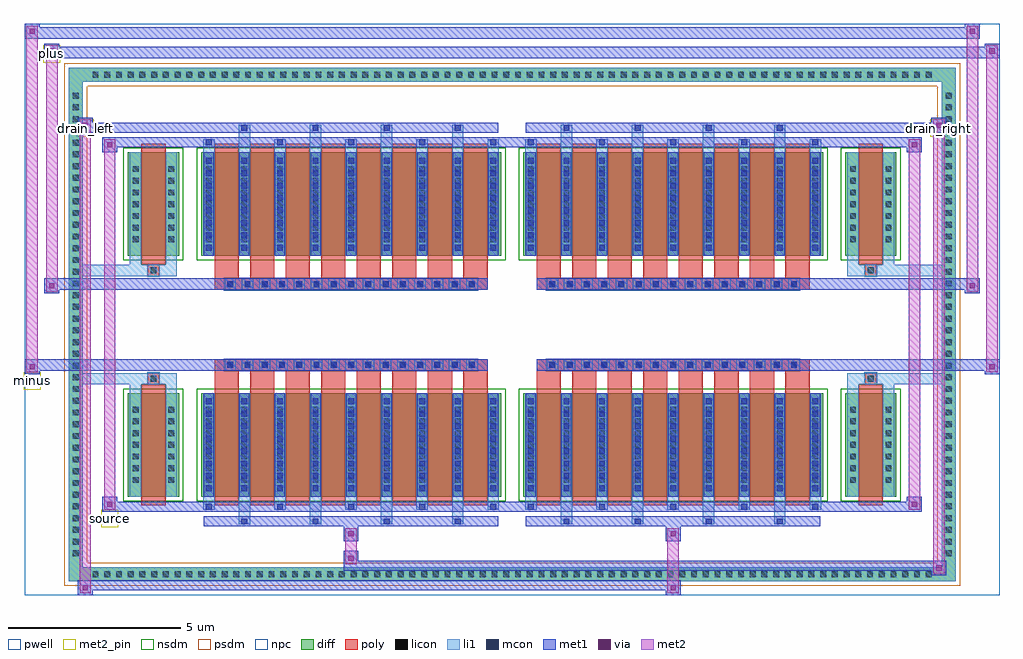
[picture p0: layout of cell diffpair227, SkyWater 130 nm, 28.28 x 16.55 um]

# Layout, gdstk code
import gdstk
lib = gdstk.Library(unit=1e-6, precision=5e-09)
def R(c, l, rs):  # rectangles x0, y0, x1, y1
    for r in rs: c.add(gdstk.rectangle(r[:2], r[2:], *l))
def A(c, l, x, y, w, h, nx, ny, dx, dy):  # array of equal rectangles
    R(c, l, [(x+i*dx, y+j*dy, x+i*dx+w, y+j*dy+h) for i in range(nx) for j in range(ny)])
def P(c, l, *ps):  # polygons
    for p in ps: c.add(gdstk.Polygon(p, *l))
pwell = (64, 44)
diff = (65, 20)
poly = (66, 20)
licon = (66, 44)
li1 = (67, 20)
mcon = (67, 44)
met1 = (68, 20)
via = (68, 44)
met2_pin = (69, 16)
met2 = (69, 20)
nsdm = (93, 44)
psdm = (94, 20)
npc = (95, 20)

diffpair227 = lib.new_cell('diffpair227')
R(diffpair227, pwell, [(-14.12,-7.84,14.12,8.71), (-11.44,-6.03,-0.01,-0.805), (0.01,-6.03,11.44,-0.805), (-11.44,0.805,-0.01,6.03), (0.01,0.805,11.44,6.03)])
A(diffpair227, diff, -12.275, -7.44, 0.41, 0.41, 72, 2, 0.34, 14.47)
A(diffpair227, diff, -12.85, -6.835, 0.41, 0.41, 1, 40, 0, 0.34)
A(diffpair227, diff, 12.44, -6.835, 0.41, 0.41, 1, 40, 0, 0.34)
R(diffpair227, diff, [(-12.275,-7.44,12.275,-7.03), (-12.85,-6.835,-12.44,6.835), (12.44,-6.835,12.85,6.835), (-11.13,-4.985,-9.65,-1.985), (-9.01,-4.985,-0.32,-1.985), (0.32,-4.985,9.01,-1.985), (9.65,-4.985,11.13,-1.985), (-11.13,1.985,-9.65,4.985), (-9.01,1.985,-0.32,4.985), (0.32,1.985,9.01,4.985), (9.65,1.985,11.13,4.985), (-12.275,7.03,12.275,7.44)])
P(diffpair227, diff, [(12.85,7.44),(-12.85,7.44),(-12.85,-7.03),(-12.44,-7.03),(-12.44,7.03),(12.44,7.03),(12.44,-7.03),(-12.44,-7.03),(-12.85,-7.03),(-12.85,-7.44),(12.85,-7.44)])
A(diffpair227, poly, -8.62, -5.235, 0.7, 3.5, 8, 2, 1.03, 6.97)
A(diffpair227, poly, 0.71, -5.235, 0.7, 3.5, 8, 2, 1.03, 6.97)
A(diffpair227, poly, -8.62, -1.735, 0.7, 0.4, 8, 2, 1.03, 3.07)
A(diffpair227, poly, 0.71, -1.735, 0.7, 0.4, 8, 2, 1.03, 3.07)
A(diffpair227, poly, -8.33, -1.335, 0.33, 0.33, 15, 2, 0.5, 2.34)
A(diffpair227, poly, 1, -1.335, 0.33, 0.33, 15, 2, 0.5, 2.34)
R(diffpair227, poly, [(-10.74,-5.235,-10.04,-1.735), (10.04,-5.235,10.74,-1.735), (-10.555,-1.735,-10.225,-1.405), (-10.555,-1.735,-10.225,-1.405), (10.225,-1.735,10.555,-1.405), (10.225,-1.735,10.555,-1.405), (-8.62,-1.335,-0.71,-1.005), (0.71,-1.335,8.62,-1.005), (-8.62,1.005,-0.71,1.335), (0.71,1.005,8.62,1.335), (-10.555,1.405,-10.225,1.735), (-10.555,1.405,-10.225,1.735), (10.225,1.405,10.555,1.735), (10.225,1.405,10.555,1.735), (-10.74,1.735,-10.04,5.235), (10.04,1.735,10.74,5.235)])
A(diffpair227, licon, -12.155, -7.32, 0.17, 0.17, 72, 2, 0.34, 14.47)
A(diffpair227, licon, -12.73, -6.715, 0.17, 0.17, 1, 40, 0, 0.34)
A(diffpair227, licon, 12.56, -6.715, 0.17, 0.17, 1, 40, 0, 0.34)
A(diffpair227, licon, -10.99, -4.59, 0.17, 0.17, 1, 7, 0, 0.34)
A(diffpair227, licon, -9.96, -4.59, 0.17, 0.17, 1, 7, 0, 0.34)
A(diffpair227, licon, -8.87, -4.59, 0.17, 0.17, 9, 7, 1.03, 0.34)
A(diffpair227, licon, 0.46, -4.59, 0.17, 0.17, 9, 7, 1.03, 0.34)
A(diffpair227, licon, 9.79, -4.59, 0.17, 0.17, 1, 7, 0, 0.34)
A(diffpair227, licon, 10.82, -4.59, 0.17, 0.17, 1, 7, 0, 0.34)
A(diffpair227, licon, -8.25, -1.255, 0.17, 0.17, 15, 2, 0.5, 2.34)
A(diffpair227, licon, 1.08, -1.255, 0.17, 0.17, 15, 2, 0.5, 2.34)
A(diffpair227, licon, -10.99, 2.38, 0.17, 0.17, 1, 7, 0, 0.34)
A(diffpair227, licon, -9.96, 2.38, 0.17, 0.17, 1, 7, 0, 0.34)
A(diffpair227, licon, -8.87, 2.38, 0.17, 0.17, 9, 7, 1.03, 0.34)
A(diffpair227, licon, 0.46, 2.38, 0.17, 0.17, 9, 7, 1.03, 0.34)
A(diffpair227, licon, 9.79, 2.38, 0.17, 0.17, 1, 7, 0, 0.34)
A(diffpair227, licon, 10.82, 2.38, 0.17, 0.17, 1, 7, 0, 0.34)
R(diffpair227, licon, [(-10.475,-1.655,-10.305,-1.485), (10.305,-1.655,10.475,-1.485), (-10.475,1.485,-10.305,1.655), (10.305,1.485,10.475,1.655)])
A(diffpair227, li1, -12.235, -7.4, 0.33, 0.33, 72, 2, 0.34, 14.47)
A(diffpair227, li1, -12.81, -6.795, 0.33, 0.33, 1, 40, 0, 0.34)
A(diffpair227, li1, 12.48, -6.795, 0.33, 0.33, 1, 40, 0, 0.34)
A(diffpair227, li1, -7.92, -5.79, 0.33, 0.805, 4, 2, 2.06, 10.775)
A(diffpair227, li1, -7.84, -5.79, 0.17, 0.17, 4, 2, 2.06, 11.41)
A(diffpair227, li1, 1.41, -5.79, 0.33, 0.805, 4, 2, 2.06, 10.775)
A(diffpair227, li1, 1.49, -5.79, 0.17, 0.17, 4, 2, 2.06, 11.41)
A(diffpair227, li1, -8.95, -5.36, 0.33, 0.375, 5, 2, 2.06, 10.345)
A(diffpair227, li1, -8.87, -5.36, 0.17, 0.17, 5, 2, 2.06, 10.55)
A(diffpair227, li1, 0.38, -5.36, 0.33, 0.375, 5, 2, 2.06, 10.345)
A(diffpair227, li1, 0.46, -5.36, 0.17, 0.17, 5, 2, 2.06, 10.55)
A(diffpair227, li1, -8.95, -4.985, 0.33, 3, 9, 2, 1.03, 6.97)
A(diffpair227, li1, 0.38, -4.985, 0.33, 3, 9, 2, 1.03, 6.97)
A(diffpair227, li1, -8.87, -4.83, 0.17, 0.17, 9, 8, 1.03, 0.36)
A(diffpair227, li1, -8.87, -4.83, 0.17, 2.69, 9, 2, 1.03, 6.97)
A(diffpair227, li1, 0.46, -4.83, 0.17, 0.17, 9, 8, 1.03, 0.36)
A(diffpair227, li1, 0.46, -4.83, 0.17, 2.69, 9, 2, 1.03, 6.97)
A(diffpair227, li1, -11.07, -4.67, 0.33, 0.33, 1, 7, 0, 0.34)
A(diffpair227, li1, -10.04, -4.67, 0.33, 0.33, 1, 7, 0, 0.34)
A(diffpair227, li1, -8.95, -4.67, 0.33, 0.33, 9, 7, 1.03, 0.34)
A(diffpair227, li1, 0.38, -4.67, 0.33, 0.33, 9, 7, 1.03, 0.34)
A(diffpair227, li1, 9.71, -4.67, 0.33, 0.33, 1, 7, 0, 0.34)
A(diffpair227, li1, 10.74, -4.67, 0.33, 0.33, 1, 7, 0, 0.34)
A(diffpair227, li1, -8.33, -1.335, 0.33, 0.33, 15, 2, 0.5, 2.34)
A(diffpair227, li1, 1, -1.335, 0.33, 0.33, 15, 2, 0.5, 2.34)
A(diffpair227, li1, -8.87, 2.14, 0.17, 0.17, 9, 8, 1.03, 0.36)
A(diffpair227, li1, 0.46, 2.14, 0.17, 0.17, 9, 8, 1.03, 0.36)
A(diffpair227, li1, -11.07, 2.3, 0.33, 0.33, 1, 7, 0, 0.34)
A(diffpair227, li1, -10.04, 2.3, 0.33, 0.33, 1, 7, 0, 0.34)
A(diffpair227, li1, -8.95, 2.3, 0.33, 0.33, 9, 7, 1.03, 0.34)
A(diffpair227, li1, 0.38, 2.3, 0.33, 0.33, 9, 7, 1.03, 0.34)
A(diffpair227, li1, 9.71, 2.3, 0.33, 0.33, 1, 7, 0, 0.34)
A(diffpair227, li1, 10.74, 2.3, 0.33, 0.33, 1, 7, 0, 0.34)
R(diffpair227, li1, [(-12.85,-7.44,-12.44,-7.03), (-12.85,-7.44,-12.44,-7.03), (-12.44,-7.44,12.44,-7.03), (12.44,-7.44,12.85,-7.03), (12.44,-7.44,12.85,-7.03), (-12.85,-7.03,-12.44,7.03), (12.44,-7.03,12.85,7.03), (-11.07,-4.985,-10.74,-1.985), (-10.04,-4.985,-9.71,-1.985), (9.71,-4.985,10.04,-1.985), (10.74,-4.985,11.07,-1.985), (-11.07,-1.985,-10.74,-1.405), (-10.04,-1.985,-9.71,-1.405), (9.71,-1.985,10.04,-1.405), (10.74,-1.985,11.07,-1.405), (-12.85,-1.735,-10.555,-1.405), (-11.07,-1.735,-10.555,-1.405), (-10.555,-1.735,-10.225,-1.405), (-10.225,-1.735,-9.71,-1.405), (9.71,-1.735,10.225,-1.405), (10.225,-1.735,10.555,-1.405), (10.225,-1.735,12.85,-1.405), (10.555,-1.735,11.07,-1.405), (-12.85,1.405,-10.555,1.735), (-11.07,1.405,-10.555,1.735), (-11.07,1.405,-10.74,1.985), (-10.555,1.405,-10.225,1.735), (-10.225,1.405,-9.71,1.735), (-10.04,1.405,-9.71,1.985), (9.71,1.405,10.225,1.735), (9.71,1.405,10.04,1.985), (10.225,1.405,10.555,1.735), (10.225,1.405,12.85,1.735), (10.555,1.405,11.07,1.735), (10.74,1.405,11.07,1.985), (-11.07,1.985,-10.74,4.985), (-10.04,1.985,-9.71,4.985), (9.71,1.985,10.04,4.985), (10.74,1.985,11.07,4.985), (-12.85,7.03,-12.44,7.44), (-12.85,7.03,-12.44,7.44), (-12.44,7.03,12.44,7.44), (12.44,7.03,12.85,7.44), (12.44,7.03,12.85,7.44)])
A(diffpair227, mcon, -7.84, -5.79, 0.17, 0.17, 4, 2, 2.06, 11.41)
A(diffpair227, mcon, 1.49, -5.79, 0.17, 0.17, 4, 2, 2.06, 11.41)
A(diffpair227, mcon, -8.87, -5.36, 0.17, 0.17, 5, 2, 2.06, 10.55)
A(diffpair227, mcon, 0.46, -5.36, 0.17, 0.17, 5, 2, 2.06, 10.55)
A(diffpair227, mcon, -8.87, -4.83, 0.17, 0.17, 9, 8, 1.03, 0.36)
A(diffpair227, mcon, 0.46, -4.83, 0.17, 0.17, 9, 8, 1.03, 0.36)
A(diffpair227, mcon, -8.25, -1.255, 0.17, 0.17, 15, 2, 0.5, 2.34)
A(diffpair227, mcon, 1.08, -1.255, 0.17, 0.17, 15, 2, 0.5, 2.34)
A(diffpair227, mcon, -8.87, 2.14, 0.17, 0.17, 9, 8, 1.03, 0.36)
A(diffpair227, mcon, 0.46, 2.14, 0.17, 0.17, 9, 8, 1.03, 0.36)
A(diffpair227, met1, -7.9, -5.85, 0.29, 0.29, 4, 2, 2.06, 11.41)
A(diffpair227, met1, 1.43, -5.85, 0.29, 0.29, 4, 2, 2.06, 11.41)
A(diffpair227, met1, -8.93, -5.42, 0.29, 0.29, 5, 2, 2.06, 10.55)
A(diffpair227, met1, 0.4, -5.42, 0.29, 0.29, 5, 2, 2.06, 10.55)
A(diffpair227, met1, -8.93, -4.985, 0.29, 3, 9, 2, 1.03, 6.97)
A(diffpair227, met1, 0.4, -4.985, 0.29, 3, 9, 2, 1.03, 6.97)
A(diffpair227, met1, -8.93, -4.89, 0.29, 0.29, 9, 8, 1.03, 0.36)
A(diffpair227, met1, 0.4, -4.89, 0.29, 0.29, 9, 8, 1.03, 0.36)
A(diffpair227, met1, -8.31, -1.315, 0.29, 0.29, 15, 2, 0.5, 2.34)
A(diffpair227, met1, 1.02, -1.315, 0.29, 0.29, 15, 2, 0.5, 2.34)
A(diffpair227, met1, -8.93, 2.08, 0.29, 0.29, 9, 8, 1.03, 0.36)
A(diffpair227, met1, 0.4, 2.08, 0.29, 0.29, 9, 8, 1.03, 0.36)
R(diffpair227, met1, [(-12.58,-7.84,-12.15,-7.41), (4.45,-7.84,4.88,-7.41), (-12.58,-7.7,4.88,-7.41), (12.15,-7.27,12.58,-6.84), (-4.88,-7.13,12.58,-6.84), (-4.88,-6.99,-4.45,-6.56), (-4.88,-6.28,-4.45,-5.85), (4.45,-6.28,4.88,-5.85), (-8.93,-5.85,-0.4,-5.56), (0.4,-5.85,8.93,-5.56), (-11.87,-5.42,-11.44,-4.99), (-11.87,-5.42,-8.93,-5.13), (-8.93,-5.42,-0.4,-5.13), (-0.4,-5.42,0.4,-5.13), (0.4,-5.42,8.93,-5.13), (8.93,-5.42,11.87,-5.13), (11.44,-5.42,11.87,-4.99), (-14.12,-1.435,-13.69,-1.005), (13.69,-1.435,14.12,-1.005), (-14.12,-1.335,-0.71,-1.005), (-8.62,-1.335,-0.71,-1.005), (0.71,-1.335,8.62,-1.005), (0.71,-1.335,14.12,-1.005), (-13.55,0.905,-13.12,1.335), (13.12,0.905,13.55,1.335), (-13.55,1.005,-8.62,1.335), (-8.62,1.005,-0.71,1.335), (0.71,1.005,8.62,1.335), (8.62,1.005,13.55,1.335), (-11.87,4.99,-11.44,5.42), (11.44,4.99,11.87,5.42), (-11.87,5.13,-8.93,5.42), (-8.93,5.13,-0.4,5.42), (-0.4,5.13,0.4,5.42), (0.4,5.13,8.93,5.42), (8.93,5.13,11.87,5.42), (-12.58,5.56,-12.15,5.99), (-12.58,5.56,-8.93,5.85), (-8.93,5.56,-0.4,5.85), (0.4,5.56,8.93,5.85), (8.93,5.56,12.58,5.85), (12.15,5.56,12.58,5.99), (-13.55,7.71,-13.12,8.14), (-13.55,7.71,-11.44,8.04), (-11.44,7.71,11.44,8.04), (11.44,7.71,14.12,8.04), (13.69,7.71,14.12,8.14), (-14.12,8.28,-13.69,8.71), (-14.12,8.28,-11.44,8.61), (-11.44,8.28,11.44,8.61), (11.44,8.28,13.55,8.61), (13.12,8.28,13.55,8.71)])
R(diffpair227, via, [(-12.44,-7.7,-12.29,-7.55), (4.59,-7.7,4.74,-7.55), (12.29,-7.13,12.44,-6.98), (-4.74,-6.85,-4.59,-6.7), (-4.74,-6.14,-4.59,-5.99), (4.59,-6.14,4.74,-5.99), (-11.73,-5.28,-11.58,-5.13), (11.58,-5.28,11.73,-5.13), (-13.98,-1.295,-13.83,-1.145), (13.83,-1.295,13.98,-1.145), (-13.41,1.045,-13.26,1.195), (13.26,1.045,13.41,1.195), (-11.73,5.13,-11.58,5.28), (11.58,5.13,11.73,5.28), (-12.44,5.7,-12.29,5.85), (12.29,5.7,12.44,5.85), (-13.41,7.85,-13.26,8), (13.83,7.85,13.98,8), (-13.98,8.42,-13.83,8.57), (13.26,8.42,13.41,8.57)])
R(diffpair227, met2_pin, [(-11.905,-5.87,-11.405,-5.37), (-14.155,-1.885,-13.655,-1.385), (-12.615,5.44,-12.115,5.94), (12.115,5.44,12.615,5.94), (-13.585,7.59,-13.085,8.09)])
R(diffpair227, met2, [(-12.53,-7.79,-12.2,-7.46), (-12.53,-7.79,-12.2,5.94), (4.5,-7.79,4.83,-7.46), (4.5,-7.46,4.83,-6.23), (12.2,-7.22,12.53,-6.89), (12.2,-7.22,12.53,5.94), (-4.83,-6.94,-4.5,-6.61), (-4.83,-6.61,-4.5,-6.23), (-4.83,-6.23,-4.5,-5.9), (4.5,-6.23,4.83,-5.9), (-11.82,-5.37,-11.49,-5.04), (-11.82,-5.37,-11.49,5.37), (11.49,-5.37,11.82,-5.04), (11.49,-5.37,11.82,5.37), (-14.07,-1.385,-13.74,-1.055), (-14.07,-1.385,-13.74,8.66), (13.74,-1.385,14.07,-1.055), (13.74,-1.385,14.07,8.09), (-13.5,0.955,-13.17,1.285), (-13.5,0.955,-13.17,8.09), (13.17,0.955,13.5,1.285), (13.17,0.955,13.5,8.66), (-11.82,5.04,-11.49,5.37), (11.49,5.04,11.82,5.37), (-12.53,5.61,-12.2,5.94), (12.2,5.61,12.53,5.94), (-13.5,7.76,-13.17,8.09), (13.74,7.76,14.07,8.09), (-14.07,8.33,-13.74,8.66), (13.17,8.33,13.5,8.66)])
P(diffpair227, met2, [(14.07,-1.385),(14.07,-1.385),(14.07,-1.055),(14.07,-1.055)],
  [(14.07,7.76),(14.07,7.76),(14.07,8.09),(14.07,8.09)],
  [(-13.74,-1.385),(-13.74,-1.385),(-13.74,-1.055),(-13.74,-1.055)],
  [(-13.74,8.33),(-13.74,8.33),(-13.74,8.66),(-13.74,8.66)],
  [(13.5,0.955),(13.5,0.955),(13.5,1.285),(13.5,1.285)],
  [(13.5,8.33),(13.5,8.33),(13.5,8.66),(13.5,8.66)],
  [(-13.17,0.955),(-13.17,0.955),(-13.17,1.285),(-13.17,1.285)],
  [(-13.17,7.76),(-13.17,7.76),(-13.17,8.09),(-13.17,8.09)],
  [(-12.2,-7.79),(-12.2,-7.79),(-12.2,-7.46),(-12.2,-7.46)],
  [(-12.2,5.61),(-12.2,5.61),(-12.2,5.94),(-12.2,5.94)],
  [(12.53,-7.22),(12.53,-7.22),(12.53,-6.89),(12.53,-6.89)],
  [(12.53,5.61),(12.53,5.61),(12.53,5.94),(12.53,5.94)],
  [(-11.49,-5.37),(-11.49,-5.37),(-11.49,-5.04),(-11.49,-5.04)],
  [(-11.49,5.04),(-11.49,5.04),(-11.49,5.37),(-11.49,5.37)],
  [(11.82,-5.37),(11.82,-5.37),(11.82,-5.04),(11.82,-5.04)],
  [(11.82,5.04),(11.82,5.04),(11.82,5.37),(11.82,5.37)])
R(diffpair227, nsdm, [(-11.26,-5.115,-9.52,-1.855), (-9.14,-5.115,-0.19,-1.855), (0.19,-5.115,9.14,-1.855), (9.52,-5.115,11.26,-1.855), (-11.26,1.855,-9.52,5.115), (-9.14,1.855,-0.19,5.115), (0.19,1.855,9.14,5.115), (9.52,1.855,11.26,5.115)])
P(diffpair227, psdm, [(12.98,7.57),(-12.98,7.57),(-12.98,-6.9),(-12.31,-6.9),(-12.31,6.9),(12.31,6.9),(12.31,-6.9),(-12.31,-6.9),(-12.98,-6.9),(-12.98,-7.57),(12.98,-7.57)])
A(diffpair227, npc, -8.35, -1.355, 0.37, 0.37, 15, 2, 0.5, 2.34)
A(diffpair227, npc, 0.98, -1.355, 0.37, 0.37, 15, 2, 0.5, 2.34)
R(diffpair227, npc, [(-10.575,-1.755,-10.205,-1.385), (10.205,-1.755,10.575,-1.385), (-8.35,-1.355,-7.48,-0.985), (-8.35,-1.355,-7.48,-0.985), (-7.85,-1.355,-6.98,-0.985), (-7.85,-1.355,-6.98,-0.985), (-7.35,-1.355,-6.48,-0.985), (-7.35,-1.355,-6.48,-0.985), (-6.85,-1.355,-5.98,-0.985), (-6.85,-1.355,-5.98,-0.985), (-6.35,-1.355,-5.48,-0.985), (-6.35,-1.355,-5.48,-0.985), (-5.85,-1.355,-4.98,-0.985), (-5.85,-1.355,-4.98,-0.985), (-5.35,-1.355,-4.48,-0.985), (-5.35,-1.355,-4.48,-0.985), (-4.85,-1.355,-3.98,-0.985), (-4.85,-1.355,-3.98,-0.985), (-4.35,-1.355,-3.48,-0.985), (-4.35,-1.355,-3.48,-0.985), (-3.85,-1.355,-2.98,-0.985), (-3.85,-1.355,-2.98,-0.985), (-3.35,-1.355,-2.48,-0.985), (-3.35,-1.355,-2.48,-0.985), (-2.85,-1.355,-1.98,-0.985), (-2.85,-1.355,-1.98,-0.985), (-2.35,-1.355,-1.48,-0.985), (-2.35,-1.355,-1.48,-0.985), (-1.85,-1.355,-0.98,-0.985), (-1.85,-1.355,-0.98,-0.985), (0.98,-1.355,1.85,-0.985), (0.98,-1.355,1.85,-0.985), (1.48,-1.355,2.35,-0.985), (1.48,-1.355,2.35,-0.985), (1.98,-1.355,2.85,-0.985), (1.98,-1.355,2.85,-0.985), (2.48,-1.355,3.35,-0.985), (2.48,-1.355,3.35,-0.985), (2.98,-1.355,3.85,-0.985), (2.98,-1.355,3.85,-0.985), (3.48,-1.355,4.35,-0.985), (3.48,-1.355,4.35,-0.985), (3.98,-1.355,4.85,-0.985), (3.98,-1.355,4.85,-0.985), (4.48,-1.355,5.35,-0.985), (4.48,-1.355,5.35,-0.985), (4.98,-1.355,5.85,-0.985), (4.98,-1.355,5.85,-0.985), (5.48,-1.355,6.35,-0.985), (5.48,-1.355,6.35,-0.985), (5.98,-1.355,6.85,-0.985), (5.98,-1.355,6.85,-0.985), (6.48,-1.355,7.35,-0.985), (6.48,-1.355,7.35,-0.985), (6.98,-1.355,7.85,-0.985), (6.98,-1.355,7.85,-0.985), (7.48,-1.355,8.35,-0.985), (7.48,-1.355,8.35,-0.985), (-8.35,0.985,-7.48,1.355), (-8.35,0.985,-7.48,1.355), (-7.85,0.985,-6.98,1.355), (-7.85,0.985,-6.98,1.355), (-7.35,0.985,-6.48,1.355), (-7.35,0.985,-6.48,1.355), (-6.85,0.985,-5.98,1.355), (-6.85,0.985,-5.98,1.355), (-6.35,0.985,-5.48,1.355), (-6.35,0.985,-5.48,1.355), (-5.85,0.985,-4.98,1.355), (-5.85,0.985,-4.98,1.355), (-5.35,0.985,-4.48,1.355), (-5.35,0.985,-4.48,1.355), (-4.85,0.985,-3.98,1.355), (-4.85,0.985,-3.98,1.355), (-4.35,0.985,-3.48,1.355), (-4.35,0.985,-3.48,1.355), (-3.85,0.985,-2.98,1.355), (-3.85,0.985,-2.98,1.355), (-3.35,0.985,-2.48,1.355), (-3.35,0.985,-2.48,1.355), (-2.85,0.985,-1.98,1.355), (-2.85,0.985,-1.98,1.355), (-2.35,0.985,-1.48,1.355), (-2.35,0.985,-1.48,1.355), (-1.85,0.985,-0.98,1.355), (-1.85,0.985,-0.98,1.355), (0.98,0.985,1.85,1.355), (0.98,0.985,1.85,1.355), (1.48,0.985,2.35,1.355), (1.48,0.985,2.35,1.355), (1.98,0.985,2.85,1.355), (1.98,0.985,2.85,1.355), (2.48,0.985,3.35,1.355), (2.48,0.985,3.35,1.355), (2.98,0.985,3.85,1.355), (2.98,0.985,3.85,1.355), (3.48,0.985,4.35,1.355), (3.48,0.985,4.35,1.355), (3.98,0.985,4.85,1.355), (3.98,0.985,4.85,1.355), (4.48,0.985,5.35,1.355), (4.48,0.985,5.35,1.355), (4.98,0.985,5.85,1.355), (4.98,0.985,5.85,1.355), (5.48,0.985,6.35,1.355), (5.48,0.985,6.35,1.355), (5.98,0.985,6.85,1.355), (5.98,0.985,6.85,1.355), (6.48,0.985,7.35,1.355), (6.48,0.985,7.35,1.355), (6.98,0.985,7.85,1.355), (6.98,0.985,7.85,1.355), (7.48,0.985,8.35,1.355), (7.48,0.985,8.35,1.355), (-10.575,1.385,-10.205,1.755), (10.205,1.385,10.575,1.755)])
diffpair227.add(gdstk.Label('minus', (-13.905,-1.635), layer=69, texttype=5))
diffpair227.add(gdstk.Label('drain_right', (12.365,5.69), layer=69, texttype=5))
diffpair227.add(gdstk.Label('drain_left', (-12.365,5.69), layer=69, texttype=5))
diffpair227.add(gdstk.Label('source', (-11.655,-5.62), layer=69, texttype=5))
diffpair227.add(gdstk.Label('plus', (-13.335,7.84), layer=69, texttype=5))

lib.write_gds('diffpair227.gds')
